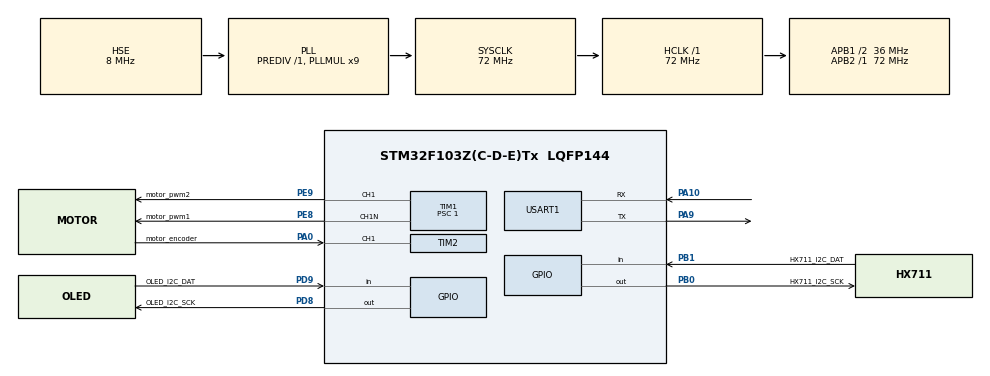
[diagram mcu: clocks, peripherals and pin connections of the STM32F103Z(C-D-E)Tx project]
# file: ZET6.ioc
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Mcu.Family=STM32F1
Mcu.Name=STM32F103Z(C-D-E)Tx
Mcu.Package=LQFP144
NVIC.PriorityGroup=NVIC_PRIORITYGROUP_4
NVIC.TIM2_IRQn=true\:0\:0\:false\:false\:true\:true
OSC_IN.Mode=HSE-External-Oscillator
OSC_IN.Signal=RCC_OSC_IN
OSC_OUT.Mode=HSE-External-Oscillator
OSC_OUT.Signal=RCC_OSC_OUT
PA0-WKUP.GPIO_Label=motor_encoder
PA0-WKUP.GPIO_PuPd=GPIO_PULLUP
PA0-WKUP.Signal=S_TIM2_CH1_ETR
PA10.Mode=Asynchronous
PA10.Signal=USART1_RX
PA9.Mode=Asynchronous
PA9.Signal=USART1_TX
PB0.GPIO_Label=HX711_I2C_SCK 
PB0.Signal=GPIO_Output
PB1.GPIO_Label=HX711_I2C_DAT 
PB1.Signal=GPIO_Input
PD8.GPIO_Label=OLED_I2C_SCK 
PD8.Signal=GPIO_Output
PD9.GPIO_Label=OLED_I2C_DAT
PD9.Signal=GPIO_Input
PE8.GPIO_Label=motor_pwm1
PE8.Mode=PWM Generation1 CH1 CH1N
PE8.Signal=TIM1_CH1N
PE9.GPIO_Label=motor_pwm2
PE9.GPIO_Speed=GPIO_SPEED_FREQ_LOW
PE9.Signal=S_TIM1_CH1
ProjectManager.HeapSize=0x200
ProjectManager.StackSize=0x400
ProjectManager.TargetToolchain=MDK-ARM V5
RCC.AHBFreq_Value=72000000
RCC.APB1CLKDivider=RCC_HCLK_DIV2
RCC.APB1Freq_Value=36000000
RCC.APB1TimFreq_Value=72000000
RCC.APB2Freq_Value=72000000
RCC.APB2TimFreq_Value=72000000
RCC.HCLKFreq_Value=72000000
RCC.PLLMUL=RCC_PLL_MUL9
RCC.PLLSourceVirtual=RCC_PLLSOURCE_HSE
RCC.SYSCLKFreq_VALUE=72000000
RCC.SYSCLKSource=RCC_SYSCLKSOURCE_PLLCLK
RCC.USBFreq_Value=72000000
SH.S_TIM1_CH1.0=TIM1_CH1,PWM Generation1 CH1 CH1N
SH.S_TIM2_CH1_ETR.0=TIM2_CH1,Input_Capture1_from_TI1
TIM1.Channel-PWM\ Generation1\ CH1\ CH1N=TIM_CHANNEL_1
TIM1.Period=900
TIM1.Prescaler=1
TIM2.Channel-Input_Capture1_from_TI1=TIM_CHANNEL_1
TIM2.Period=0xFFFF
TIM2.Prescaler=71
USART1.VirtualMode=VM_ASYNC
VP_SYS_VS_ND.Mode=No_Debug
VP_TIM1_VS_ClockSourceINT.Mode=Internal
VP_TIM2_VS_ClockSourceINT.Mode=Internal
board=custom

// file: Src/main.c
/**
  ******************************************************************************
  * @file           : main.c
  * @brief          : Main program body
  ******************************************************************************
  ** This notice applies to any and all portions of this file
  * that are not between comment pairs USER CODE BEGIN and
  * USER CODE END. Other portions of this file, whether
  * inserted by the user or by software development tools
  * are owned by their respective copyright owners.
  *
  * COPYRIGHT(c) 2019 STMicroelectronics
  *
  * Redistribution and use in source and binary forms, with or without modification,
  * are permitted provided that the following conditions are met:
  *   1. Redistributions of source code must retain the above copyright notice,
  *      this list of conditions and the following disclaimer.
  *   2. Redistributions in binary form must reproduce the above copyright notice,
  *      this list of conditions and the following disclaimer in the documentation
  *      and/or other materials provided with the distribution.
  *   3. Neither the name of STMicroelectronics nor the names of its contributors
  *      may be used to endorse or promote products derived from this software
  *      without specific prior written permission.
  *
  * THIS SOFTWARE IS PROVIDED BY THE COPYRIGHT HOLDERS AND CONTRIBUTORS "AS IS"
  * AND ANY EXPRESS OR IMPLIED WARRANTIES, INCLUDING, BUT NOT LIMITED TO, THE
  * IMPLIED WARRANTIES OF MERCHANTABILITY AND FITNESS FOR A PARTICULAR PURPOSE ARE
  * DISCLAIMED. IN NO EVENT SHALL THE COPYRIGHT HOLDER OR CONTRIBUTORS BE LIABLE
  * FOR ANY DIRECT, INDIRECT, INCIDENTAL, SPECIAL, EXEMPLARY, OR CONSEQUENTIAL
  * DAMAGES (INCLUDING, BUT NOT LIMITED TO, PROCUREMENT OF SUBSTITUTE GOODS OR
  * SERVICES; LOSS OF USE, DATA, OR PROFITS; OR BUSINESS INTERRUPTION) HOWEVER
  * CAUSED AND ON ANY THEORY OF LIABILITY, WHETHER IN CONTRACT, STRICT LIABILITY,
  * OR TORT (INCLUDING NEGLIGENCE OR OTHERWISE) ARISING IN ANY WAY OUT OF THE USE
  * OF THIS SOFTWARE, EVEN IF ADVISED OF THE POSSIBILITY OF SUCH DAMAGE.
  *
  ******************************************************************************
  */
#include "main.h"
#include "stm32f1xx_hal.h"
#include "tim.h"
#include "usart.h"
#include "gpio.h"

/* USER CODE BEGIN Includes */
#include "motor.h"
#include "pid.h"
#include "hx711.h"
#include "oled.h"

#include "stdio.h"
#ifdef __GNUC__
#define PUTCHAR_PROTOTYPE int __io_putchar(int ch)
#else
#define PUTCHAR_PROTOTYPE int fputc(int ch, FILE *f)
#endif /* __GNUC__ */
PUTCHAR_PROTOTYPE
{
	HAL_UART_Transmit(&huart1 , (uint8_t *)&ch, 1, 0xFFFF);
	return ch;
}

/* USER CODE END Includes */

/* USER CODE BEGIN PV */
/* Private variables ---------------------------------------------------------*/

/* USER CODE END PV */

void SystemClock_Config(void);

/* USER CODE BEGIN PFP */
/* Private function prototypes -----------------------------------------------*/

__IO uint16_t time_count=0;        // 时间计数，每1ms增加一(与滴定时器频率有关)
__IO uint32_t CaptureNumber=0;     // 输入捕获数
__IO uint8_t  start_flag=0;
__IO double encoder_speed=0;
__IO uint16_t PWM_Duty;
__IO uint32_t count;
__IO int para;
__IO double cal;
float Weight = 0;
/* USER CODE END PFP */

int main(void)
{

  /* MCU Configuration----------------------------------------------------------*/

  /* Reset of all peripherals, Initializes the Flash interface and the Systick. */
  HAL_Init();

  /* Configure the system clock */
  SystemClock_Config();

  /* Initialize all configured peripherals */
  MX_GPIO_Init();
  MX_TIM1_Init();
  MX_TIM2_Init();
  MX_USART1_UART_Init();
  /* USER CODE BEGIN 2 */
	OLED_Init();			//初始化OLED
	OLED_Clear();

	Motor_Init();
	HAL_TIM_Base_Start(&htim1);
	HAL_TIM_Base_Start(&htim2);

	HAL_TIM_IC_Start_IT(&htim2,TIM_CHANNEL_1);
	PID_Init(&Motor_SpeedPID,PID_Motor_KP,PID_Motor_KI,PID_Motor_KD);

  /* USER CODE END 2 */

  /* Infinite loop */
  /* USER CODE BEGIN WHILE */

	PID_SetPoint(&Motor_SpeedPID, 50);
	Get_Maopi();

	printf("INIT__PASS……  \r\n");
	HAL_Delay(1000);

	start_flag=1;
  while (1)
  {

//		u8 t;
//		t=' ';
  /* USER CODE END WHILE */

  /* USER CODE BEGIN 3 */
//	OLED_Clear();
//	OLED_ShowCHinese(0,0,0);//目
//	OLED_ShowCHinese(18,0,1);//标
//	OLED_ShowCHinese(36,0,2);//拉
//	OLED_ShowCHinese(54,0,3);//力
//	OLED_ShowCHinese(72,0,4);//值
//	OLED_ShowCHinese(90,0,5);//：
//		HAL_Delay(1000);
//		HAL_Delay(1000);
//		HAL_Delay(1000);

//		HAL_Delay(1000);
//		HAL_Delay(1000);
//		HAL_Delay(1000);
//		Motor_Close();
//		printf("     STOP……  \r\n\r\n");
//		HAL_Delay(1000);
//		HAL_Delay(1000);
//		HAL_Delay(1000);
//		Motor_Init();
//		printf("     OPEN……  \r\n\r\n");

  }
  /* USER CODE END 3 */

}

void SystemClock_Config(void)
{

  RCC_OscInitTypeDef RCC_OscInitStruct;
  RCC_ClkInitTypeDef RCC_ClkInitStruct;

    /**Initializes the CPU, AHB and APB busses clocks
    */
  RCC_OscInitStruct.OscillatorType = RCC_OSCILLATORTYPE_HSE;
  RCC_OscInitStruct.HSEState = RCC_HSE_ON;
  RCC_OscInitStruct.HSEPredivValue = RCC_HSE_PREDIV_DIV1;
  RCC_OscInitStruct.HSIState = RCC_HSI_ON;
  RCC_OscInitStruct.PLL.PLLState = RCC_PLL_ON;
  RCC_OscInitStruct.PLL.PLLSource = RCC_PLLSOURCE_HSE;
  RCC_OscInitStruct.PLL.PLLMUL = RCC_PLL_MUL9;
  if (HAL_RCC_OscConfig(&RCC_OscInitStruct) != HAL_OK)
  {
    _Error_Handler(__FILE__, __LINE__);
  }

    /**Initializes the CPU, AHB and APB busses clocks
    */
  RCC_ClkInitStruct.ClockType = RCC_CLOCKTYPE_HCLK|RCC_CLOCKTYPE_SYSCLK
                              |RCC_CLOCKTYPE_PCLK1|RCC_CLOCKTYPE_PCLK2;
  RCC_ClkInitStruct.SYSCLKSource = RCC_SYSCLKSOURCE_PLLCLK;
  RCC_ClkInitStruct.AHBCLKDivider = RCC_SYSCLK_DIV1;
  RCC_ClkInitStruct.APB1CLKDivider = RCC_HCLK_DIV2;
  RCC_ClkInitStruct.APB2CLKDivider = RCC_HCLK_DIV1;

  if (HAL_RCC_ClockConfig(&RCC_ClkInitStruct, FLASH_LATENCY_2) != HAL_OK)
  {
    _Error_Handler(__FILE__, __LINE__);
  }

    /**Configure the Systick interrupt time
    */
  HAL_SYSTICK_Config(HAL_RCC_GetHCLKFreq()/1000);

    /**Configure the Systick
    */
  HAL_SYSTICK_CLKSourceConfig(SYSTICK_CLKSOURCE_HCLK);

  /* SysTick_IRQn interrupt configuration */
  HAL_NVIC_SetPriority(SysTick_IRQn, 0, 0);
}

/* USER CODE BEGIN 4 */

/**
  * 函数功能: 系统滴答定时器中断回调函数
  * 输入参数: 无
  * 返 回 值: 无
  * 说    明: 每发生一次滴答定时器中断进入该回调函数一次
  */
void HAL_SYSTICK_Callback(void)
{
  if(start_flag) 					// 等待脉冲输出后才开始计时
  {
    time_count++;         // 每1ms自动增一
    if(time_count==200)    																													//200ms
    {
				/* 拉力传感部分 */
			Weight = Get_Weight();
			Weight = (float)Weight/1000.0f;

			/* 电机部分 */
      count=CaptureNumber; 			 /* 得到编码器计数值，数值越大说明速度越大 */
      CaptureNumber=0;    			// 清零，从零开始计数
      para=Inc_PID_Calc(&Motor_SpeedPID,count);      /* 计数得到增量式PID的增量数值 */
      Motor_Limt();
			Set_Pwm(PWM_Duty);

			printf("\n压力传感为： %f   差值电机速度->	%d	目标速度->	%d	电机速度->	%d	pid计算值->  %d   新的占空比->	%d\r\n\r\n",Weight,count-Motor_SpeedPID.SetPoint,Motor_SpeedPID.SetPoint,count,para,PWM_Duty);
			time_count=0;

    }
  }
}

void HAL_TIM_IC_CaptureCallback(TIM_HandleTypeDef *htim)
{
	if(htim == &(htim2))
	{
		CaptureNumber++;
	}

}

/* USER CODE END 4 */

void _Error_Handler(char *file, int line)
{
  while(1)
  {
  }
}

/************************ (C) COPYRIGHT STMicroelectronics *****END OF FILE****/
